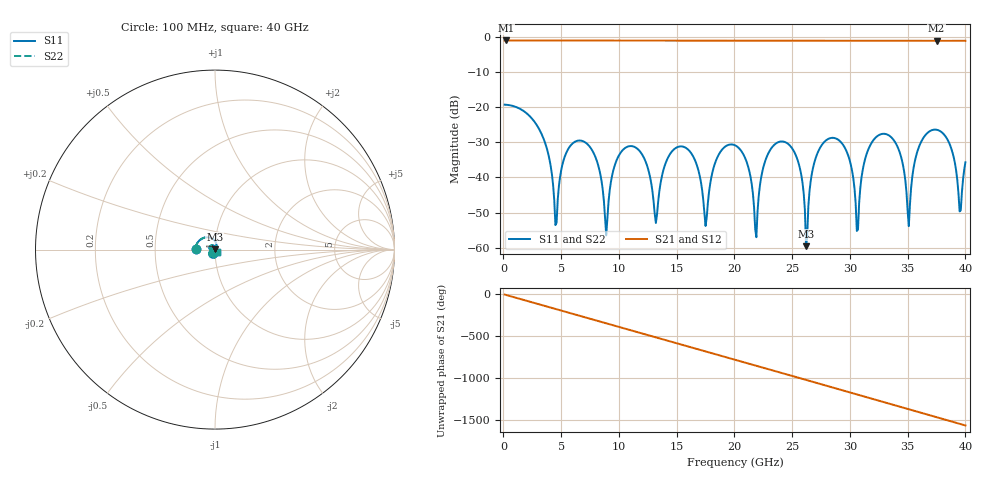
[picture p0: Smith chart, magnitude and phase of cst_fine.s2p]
! T_ts6_ms_20: Microstrip L1, ThunderScope stack, w 0.265 mm, 20 mm
! stackup: ThunderScope Rev5.3 6-layer (FR408HR / FR-4, from the board file)
! ports: 1 near A, 2 far A
! CST Studio Suite 2025.5 Release from 2025-05-30, time domain (FIT, hexahedral, PBA), 383724 mesh cells, 78 s
! mesh: {'lpw': 30.0, 'lpb': 30.0, 'minstep': 0.0, 'ratio': 20}; ports: port 1 (face); port 2 (face)
! interpolated from CST's 1001 samples to the case grid
# Hz S RI R 50
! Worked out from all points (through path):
!   400 points, 100 MHz to 40 GHz, reference 50 ohm
!   highest |S21| = -1.00 dB at 200 MHz (marker M1); lowest = -1.1 dB at 37.5 GHz (marker M2)
!   group delay of S21, straight-line fit = 108 ps
!   lowest |S11| = -59.6 dB at 26.2 GHz (marker M3), VSWR 1.00, Z = 49.9 + j0.0634 ohm
!   |S11| at or under -10 dB: start of sweep to end of sweep
!   |S22| runs from -59.6 to -19.3 dB; largest |S21 - S12| = 5e-07
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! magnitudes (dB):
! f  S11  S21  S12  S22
! 100 MHz  -19.3  -1.0  -1.0  -19.3
! 200 MHz  -19.3  -1.0  -1.0  -19.3
! 3.4 GHz  -28.4  -1.0  -1.0  -28.4
! 4.5 GHz  -53.6  -1.0  -1.0  -53.6
! 6.8 GHz  -29.6  -1.0  -1.0  -29.6
! 8.9 GHz  -56.5  -1.0  -1.0  -56.5
! 10.6 GHz  -31.5  -1.0  -1.0  -31.5
! 13.4 GHz  -46.8  -1.0  -1.0  -46.8
! 15.7 GHz  -31.4  -1.0  -1.0  -31.4
! 17.5 GHz  -53.8  -1.0  -1.0  -53.8
! 20.1 GHz  -30.9  -1.1  -1.1  -30.9
! 21.9 GHz  -57.0  -1.1  -1.1  -57.0
! 25 GHz  -31.7  -1.1  -1.1  -31.7
! 26.2 GHz  -59.6  -1.1  -1.1  -59.6
! 26.7 GHz  -39.0  -1.1  -1.1  -39.0
! 29.3 GHz  -30.3  -1.1  -1.1  -30.3
! 30.6 GHz  -55.3  -1.1  -1.1  -55.3
! 33.4 GHz  -28.1  -1.1  -1.1  -28.1
! 35.1 GHz  -53.9  -1.1  -1.1  -53.9
! 37.5 GHz  -26.4  -1.1  -1.1  -26.4
! 39.5 GHz  -49.7  -1.1  -1.1  -49.7
! 40 GHz  -35.7  -1.1  -1.1  -35.7
